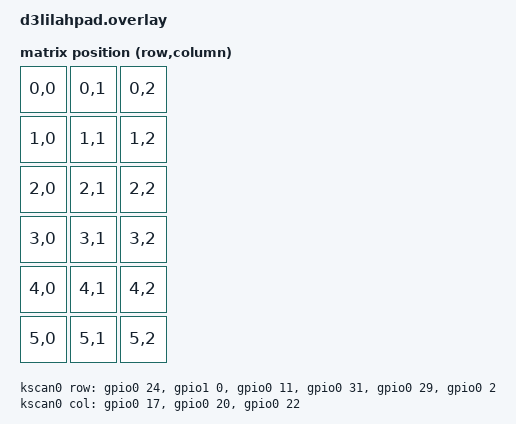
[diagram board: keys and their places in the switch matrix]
/*
 * Copyright (c) 2024 D3lilah
 * SPDX-License-Identifier: MIT
 */

#include <dt-bindings/zmk/matrix_transform.h>

/ {
    chosen {
        zmk,kscan = &kscan0;
        zmk,matrix-transform = &default_transform;
        zmk,physical-layout = &physical_layout0;
    };

    physical_layout0: physical_layout_0 {
        compatible = "zmk,physical-layout";
        display-name = "Default";
        transform = <&default_transform>;

        keys = <
            // Row 0
            &key_physical_attrs 100 100 0   0   0 0 0
            &key_physical_attrs 100 100 100 0   0 0 0
            &key_physical_attrs 100 100 200 0   0 0 0
            // Row 1
            &key_physical_attrs 100 100 0   100 0 0 0
            &key_physical_attrs 100 100 100 100 0 0 0
            &key_physical_attrs 100 100 200 100 0 0 0
            // Row 2
            &key_physical_attrs 100 100 0   200 0 0 0
            &key_physical_attrs 100 100 100 200 0 0 0
            &key_physical_attrs 100 100 200 200 0 0 0
            // Row 3
            &key_physical_attrs 100 100 0   300 0 0 0
            &key_physical_attrs 100 100 100 300 0 0 0
            &key_physical_attrs 100 100 200 300 0 0 0
            // Row 4
            &key_physical_attrs 100 100 0   400 0 0 0
            &key_physical_attrs 100 100 100 400 0 0 0
            &key_physical_attrs 100 100 200 400 0 0 0
            // Row 5
            &key_physical_attrs 100 100 0   500 0 0 0
            &key_physical_attrs 100 100 100 500 0 0 0
            &key_physical_attrs 100 100 200 500 0 0 0
        >;
    };

    default_transform: keymap_transform_0 {
        compatible = "zmk,matrix-transform";
        columns = <3>;
        rows = <6>;

        // 3 columns x 6 rows = 18 keys
        // Vertical layout - adjust mapping to match physical layout
        map = <
            RC(0,0) RC(0,1) RC(0,2)
            RC(1,0) RC(1,1) RC(1,2)
            RC(2,0) RC(2,1) RC(2,2)
            RC(3,0) RC(3,1) RC(3,2)
            RC(4,0) RC(4,1) RC(4,2)
            RC(5,0) RC(5,1) RC(5,2)
        >;
    };

    kscan0: kscan {
        compatible = "zmk,kscan-gpio-matrix";
        wakeup-source;
        diode-direction = "col2row";

        col-gpios
            = <&gpio0 17 GPIO_ACTIVE_HIGH>   // P0.17 - Col 0
            , <&gpio0 20 GPIO_ACTIVE_HIGH>   // P0.20 - Col 1
            , <&gpio0 22 GPIO_ACTIVE_HIGH>   // P0.22 - Col 2
            ;

        row-gpios
            = <&gpio0 24 (GPIO_ACTIVE_HIGH | GPIO_PULL_DOWN)>   // P0.24 - Row 0
            , <&gpio1  0 (GPIO_ACTIVE_HIGH | GPIO_PULL_DOWN)>   // P1.00 - Row 1
            , <&gpio0 11 (GPIO_ACTIVE_HIGH | GPIO_PULL_DOWN)>   // P0.11 - Row 2
            , <&gpio0 31 (GPIO_ACTIVE_HIGH | GPIO_PULL_DOWN)>   // P0.31 - Row 3
            , <&gpio0 29 (GPIO_ACTIVE_HIGH | GPIO_PULL_DOWN)>   // P0.29 - Row 4
            , <&gpio0  2 (GPIO_ACTIVE_HIGH | GPIO_PULL_DOWN)>   // P0.02 - Row 5
            ;
    };

    // GPIO LEDs definition
    leds: leds {
        compatible = "gpio-leds";

        led_battery: led_0 {
            gpios = <&gpio0 6 GPIO_ACTIVE_HIGH>;  // P0.06 - Battery low
            label = "Battery LED";
        };

        led_status: led_1 {
            gpios = <&gpio0 8 GPIO_ACTIVE_HIGH>;  // P0.08 - Connection status
            label = "Status LED";
        };
    };
};
